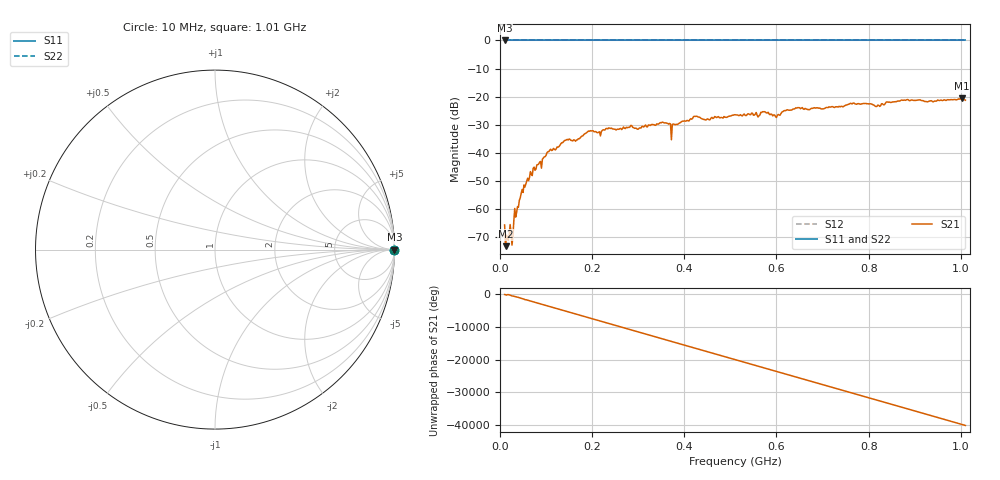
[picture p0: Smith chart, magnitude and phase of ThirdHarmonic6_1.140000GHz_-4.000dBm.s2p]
! 8/16/2025 11:11:16 AM
! C:\ANRITSUVNA\TEMP\TEMP.S2P
! CHANNEL.1
! TR.MEASUREMENT
! RAW.DATA
! RF.CORRECTION.OFF
! AVERAGING.OFF
! IF.BANDWIDTH: 5KHZ
! SWEEPTYPE:  FREQ.SWEEP(Linear)
! Reference Plane Port Info
! PORT:  PORT1  PORT2
! DISTANCE:  0  m  0  m
! TIME:  0  s  0  s
! PHASE.OFFSET:  0  deg.  0  deg.
! LOSS:  0  dB  0  dB
! REF.LOSS:  0  dB  0  dB
! REF.FREQ:  0  Hz  0  Hz
! Power Info
! POWER:  -20  dBm  -20  dBm
! EFF.POWER:  -20  dBm  -20  dBm
! SOURCE.ATTEN:  0  dB  0  dB
! TEST.ATTEN:  0  dB  0  dB
# GHZ S RI R 50.0
! FREQ.GHZ  S11RE  S11IM  S21RE  S21IM  S12RE  S12IM  S22RE  S22IM
!; PortSelection: Port_12
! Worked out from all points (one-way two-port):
!   501 points, 10 MHz to 1.01 GHz, reference 50 ohm
!   highest |S21| = -20.53 dB at 1.002 GHz (marker M1); lowest = -73.3 dB at 12 MHz (marker M2)
!   lowest |S11| = 0.0 dB at 10 MHz (marker M3)
!   |S11| at or under -10 dB: nowhere
!   |S22| runs from 0.0 to 0.0 dB; largest |S21 - S12| = 1.1
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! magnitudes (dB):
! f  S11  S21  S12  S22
! 10 MHz  0.0  -65.7  0.0  0.0
! 12 MHz  0.0  -73.3  0.0  0.0
! 16 MHz  0.0  -69.9  0.0  0.0
! 24 MHz  0.0  -68.6  0.0  0.0
! 30 MHz  0.0  -64.2  0.0  0.0
! 34 MHz  0.0  -62.9  0.0  0.0
! 48 MHz  0.0  -53.1  0.0  0.0
! 70 MHz  0.0  -48.1  0.0  0.0
! 106 MHz  0.0  -39.6  0.0  0.0
! 178 MHz  0.0  -34.1  0.0  0.0
! 196 MHz  0.0  -32.1  0.0  0.0
! 344 MHz  0.0  -29.8  0.0  0.0
! 376 MHz  0.0  -29.8  0.0  0.0
! 424 MHz  0.0  -27.1  0.0  0.0
! 450 MHz  0.0  -27.9  0.0  0.0
! 510 MHz  0.0  -26.4  0.0  0.0
! 602 MHz  0.0  -26.6  0.0  0.0
! 620 MHz  0.0  -25.0  0.0  0.0
! 678 MHz  0.0  -24.2  0.0  0.0
! 844 MHz  0.0  -22.0  0.0  0.0
! 1.002 GHz  0.0  -20.5  0.0  0.0
! 1.01 GHz  0.0  -21.3  0.0  0.0
